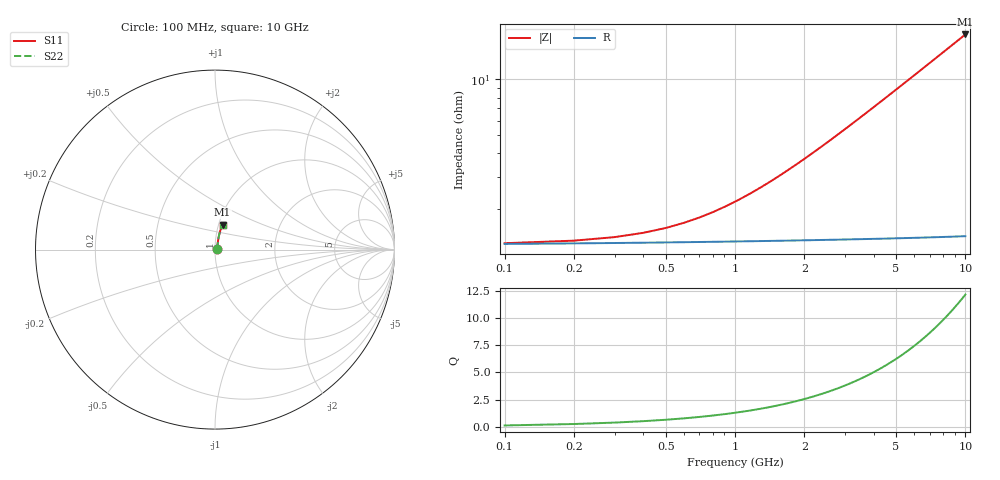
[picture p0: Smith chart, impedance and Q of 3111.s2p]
# Hz S RI R 50.00
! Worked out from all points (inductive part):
!   100 points, 100 MHz to 10 GHz, reference 50 ohm
!   read as one part in series: L = 277 pH near 2.4 GHz
!   highest Q = 12.1 at 10 GHz (marker M1), where L = 277 pH
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1e8  0.0129 0.00144  0.9871 -0.00195  0.9871 -0.00195  0.0129 0.00144
2e8  0.013 0.00289  0.987 -0.0039  0.987 -0.0039  0.013 0.00289
3e8  0.013 0.00433  0.987 -0.00585  0.987 -0.00585  0.013 0.00433
4e8  0.0131 0.00577  0.9869 -0.00779  0.9869 -0.00779  0.0131 0.00577
5e8  0.0132 0.00722  0.9868 -0.00974  0.9868 -0.00974  0.0132 0.00722
1.3e9  0.0138 0.0187  0.9862 -0.0253  0.9862 -0.0253  0.0138 0.0187
1.5e9  0.014 0.0216  0.986 -0.0292  0.986 -0.0292  0.014 0.0216
1.8e9  0.0143 0.0259  0.9856 -0.035  0.9856 -0.035  0.0143 0.0259
2.1e9  0.0147 0.0302  0.9852 -0.0409  0.9852 -0.0409  0.0147 0.0302
2.5e9  0.0153 0.036  0.9846 -0.0486  0.9846 -0.0486  0.0153 0.036
2.9e9  0.016 0.0417  0.9839 -0.0564  0.9839 -0.0564  0.016 0.0417
3.4e9  0.0169 0.0488  0.9829 -0.066  0.9829 -0.066  0.0169 0.0488
3.8e9  0.0178 0.0545  0.982 -0.0738  0.982 -0.0738  0.0178 0.0545
4.2e9  0.0187 0.0602  0.981 -0.0815  0.981 -0.0815  0.0187 0.0602
4.6e9  0.0198 0.0659  0.98 -0.0891  0.98 -0.0891  0.0198 0.0659
5.1e9  0.0212 0.0729  0.9785 -0.0987  0.9785 -0.0987  0.0212 0.0729
5.9e9  0.0237 0.0841  0.9758 -0.114  0.9758 -0.114  0.0237 0.0841
6.7e9  0.0266 0.0952  0.9728 -0.1291  0.9728 -0.1291  0.0266 0.0952
7.5e9  0.0298 0.1062  0.9694 -0.1442  0.9694 -0.1442  0.0298 0.1062
8.4e9  0.0339 0.1184  0.9652 -0.161  0.9652 -0.161  0.0339 0.1184
9.2e9  0.0378 0.1291  0.9611 -0.1758  0.9611 -0.1758  0.0378 0.1291
1e10  0.042 0.1396  0.9566 -0.1904  0.9566 -0.1904  0.042 0.1396
